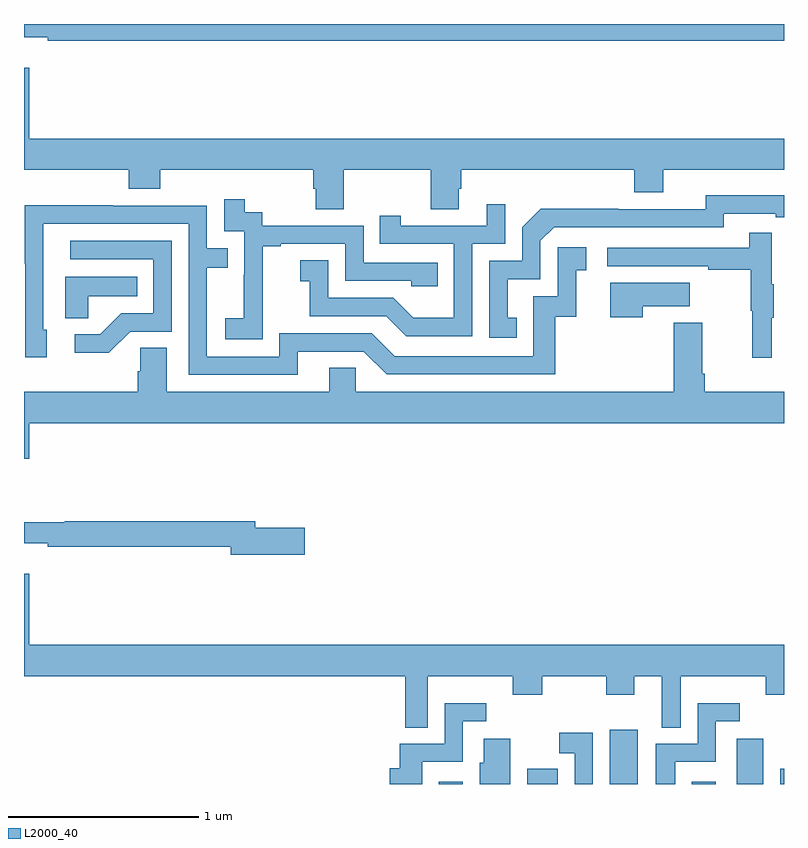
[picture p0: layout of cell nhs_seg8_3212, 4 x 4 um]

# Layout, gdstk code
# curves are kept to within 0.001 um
import gdstk
lib = gdstk.Library(unit=1e-6, precision=1e-09)
def R(c, l, rs):  # rectangles x0, y0, x1, y1
    for r in rs: c.add(gdstk.rectangle(r[:2], r[2:], *l))
def P(c, l, *ps):  # polygons
    for p in ps: c.add(gdstk.Polygon(p, *l))
L2000_40 = (2000, 40)

nhs_seg8_3212 = lib.new_cell('nhs_seg8_3212')
R(nhs_seg8_3212, L2000_40, [(311.183,1147.9,311.31,1147.912), (311.648,1147.9,311.809,1147.98), (312.083,1147.9,312.229,1148.185), (312.515,1147.9,312.642,1147.912), (312.752,1147.9,312.892,1148.137), (312.98,1147.9,313,1147.98)])
P(nhs_seg8_3212, L2000_40, [(313,1151.9),(309,1151.9),(309,1151.831),(309.124,1151.831),(309.124,1151.812),(313,1151.812)],
  [(310.683,1151.132),(311.14,1151.132),(311.14,1150.924),(311.287,1150.924),(311.287,1151.034),(311.3,1151.034),(311.3,1151.132),(312.212,1151.132),(312.212,1151.015),(312.364,1151.015),(312.364,1151.132),(313,1151.132),(313,1151.296),(309.028,1151.296),(309.028,1151.671),(309,1151.671),(309,1151.132),(309.551,1151.132),(309.551,1151.033),(309.716,1151.033),(309.716,1151.132),(310.523,1151.132),(310.523,1151.034),(310.535,1151.034),(310.535,1150.924),(310.683,1150.924)],
  [(311.594,1150.353),(311.545,1150.353),(311.545,1150.557),(311.718,1150.557),(311.718,1150.758),(311.79,1150.83),(312.684,1150.83),(312.684,1150.902),(312.956,1150.902),(312.956,1150.882),(313,1150.882),(313,1150.998),(312.588,1150.999),(312.588,1150.926),(312.128,1150.926),(312.128,1150.928),(311.72,1150.928),(311.622,1150.83),(311.622,1150.653),(311.448,1150.653),(311.448,1150.248),(311.594,1150.248)],
  [(310.257,1150.447),(310.256,1150.447),(310.256,1150.731),(310.351,1150.731),(310.351,1150.743),(310.692,1150.743),(310.692,1150.548),(311.037,1150.548),(311.037,1150.521),(311.177,1150.521),(311.177,1150.644),(310.788,1150.644),(310.788,1150.839),(310.254,1150.839),(310.254,1150.908),(310.162,1150.908),(310.162,1150.978),(310.053,1150.978),(310.053,1150.809),(310.158,1150.809),(310.158,1150.58),(310.157,1150.58),(310.157,1150.351),(310.059,1150.351),(310.059,1150.241),(310.257,1150.241)],
  [(311.358,1150.743),(311.532,1150.743),(311.532,1150.951),(311.435,1150.951),(311.435,1150.839),(310.984,1150.839),(310.984,1150.891),(310.873,1150.891),(310.873,1150.743),(311.262,1150.743),(311.262,1150.354),(311.048,1150.354),(310.944,1150.458),(310.602,1150.458),(310.602,1150.657),(310.455,1150.657),(310.455,1150.547),(310.504,1150.547),(310.504,1150.362),(310.907,1150.362),(311.012,1150.257),(311.358,1150.257)],
  [(310.441,1150.176),(310.788,1150.176),(310.908,1150.056),(311.795,1150.056),(311.795,1150.359),(311.906,1150.359),(311.906,1150.605),(311.959,1150.605),(311.959,1150.726),(311.808,1150.726),(311.808,1150.467),(311.679,1150.467),(311.679,1150.152),(310.95,1150.152),(310.83,1150.272),(310.344,1150.272),(310.344,1150.149),(309.963,1150.149),(309.963,1150.618),(310.073,1150.618),(310.073,1150.719),(309.963,1150.719),(309.963,1150.944),(309.467,1150.944),(309.467,1150.946),(309.004,1150.946),(309.004,1150.639),(309.006,1150.639),(309.006,1150.146),(309.121,1150.146),(309.121,1150.29),(309.102,1150.29),(309.102,1150.848),(309.867,1150.848),(309.867,1150.053),(310.441,1150.053)],
  [(312.935,1150.355),(312.946,1150.355),(312.946,1150.529),(312.935,1150.529),(312.935,1150.801),(312.817,1150.801),(312.817,1150.722),(312.069,1150.722),(312.069,1150.626),(312.601,1150.626),(312.601,1150.606),(312.825,1150.606),(312.825,1150.392),(312.832,1150.392),(312.832,1150.143),(312.935,1150.143)],
  [(309.558,1150.281),(309.777,1150.281),(309.777,1150.758),(309.243,1150.758),(309.243,1150.662),(309.681,1150.662),(309.681,1150.377),(309.512,1150.377),(309.401,1150.266),(309.267,1150.266),(309.267,1150.169),(309.445,1150.169)],
  [(309.339,1150.466),(309.596,1150.466),(309.596,1150.57),(309.218,1150.57),(309.218,1150.351),(309.339,1150.351)],
  [(312.257,1150.415),(312.505,1150.415),(312.505,1150.537),(312.086,1150.537),(312.086,1150.356),(312.257,1150.356)],
  [(309.028,1149.8),(313,1149.8),(313,1149.964),(312.584,1149.964),(312.584,1150.06),(312.571,1150.06),(312.571,1150.327),(312.419,1150.327),(312.419,1149.964),(310.746,1149.964),(310.746,1150.091),(310.607,1150.091),(310.607,1149.964),(309.751,1149.964),(309.751,1150.196),(309.612,1150.196),(309.612,1150.073),(309.599,1150.073),(309.599,1149.964),(309,1149.964),(309,1149.612),(309.028,1149.612)],
  [(310.477,1149.248),(310.216,1149.248),(310.216,1149.284),(309.215,1149.284),(309.215,1149.277),(309,1149.277),(309,1149.167),(309.124,1149.167),(309.124,1149.148),(310.088,1149.148),(310.088,1149.106),(310.477,1149.106)],
  [(311.125,1148.468),(311.572,1148.468),(311.572,1148.369),(311.727,1148.369),(311.727,1148.468),(312.064,1148.468),(312.064,1148.369),(312.211,1148.369),(312.211,1148.468),(312.356,1148.468),(312.356,1148.197),(312.457,1148.197),(312.457,1148.468),(312.904,1148.468),(312.904,1148.369),(313,1148.369),(313,1148.632),(309.028,1148.632),(309.028,1149.007),(309,1149.007),(309,1148.468),(311.007,1148.468),(311.007,1148.197),(311.125,1148.197)],
  [(311.095,1148.016),(311.31,1148.016),(311.31,1148.229),(311.434,1148.229),(311.434,1148.326),(311.214,1148.326),(311.214,1148.112),(310.977,1148.112),(310.977,1147.984),(310.925,1147.984),(310.925,1147.9),(311.095,1147.9)],
  [(312.427,1148.016),(312.642,1148.016),(312.642,1148.229),(312.766,1148.229),(312.766,1148.326),(312.546,1148.326),(312.546,1148.112),(312.326,1148.112),(312.326,1147.9),(312.427,1147.9)],
  [(311.994,1148.17),(311.817,1148.17),(311.817,1148.061),(311.898,1148.061),(311.898,1147.9),(311.994,1147.9)],
  [(311.56,1148.137),(311.42,1148.137),(311.42,1148.013),(311.399,1148.013),(311.399,1147.9),(311.56,1147.9)])

lib.write_gds('nhs_seg8_3212.gds')
